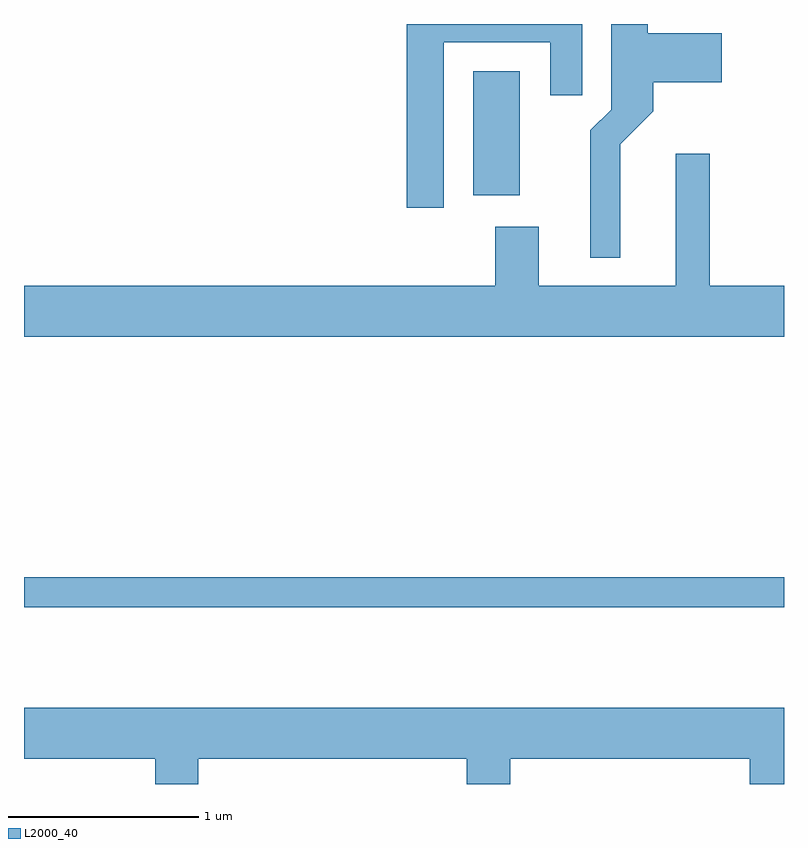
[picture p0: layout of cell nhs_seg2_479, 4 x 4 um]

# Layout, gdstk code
import gdstk
lib = gdstk.Library(unit=1e-6, precision=1e-09)
def R(c, l, rs):  # rectangles x0, y0, x1, y1
    for r in rs: c.add(gdstk.rectangle(r[:2], r[2:], *l))
def P(c, l, *ps):  # polygons
    for p in ps: c.add(gdstk.Polygon(p, *l))
L2000_40 = (2000, 40)

nhs_seg2_479 = lib.new_cell('nhs_seg2_479')
R(nhs_seg2_479, L2000_40, [(199.611,984.731,203.611,984.889), (201.976,986.901,202.219,987.554)])
P(nhs_seg2_479, L2000_40, [(202.749,987.169),(202.924,987.344),(202.924,987.496),(203.284,987.496),(203.284,987.754),(202.894,987.754),(202.894,987.802),(202.701,987.802),(202.701,987.352),(202.591,987.242),(202.591,986.573),(202.749,986.573)],
  [(201.819,987.706),(202.381,987.706),(202.381,987.428),(202.549,987.428),(202.549,987.802),(201.626,987.802),(201.626,986.836),(201.819,986.836)],
  [(203.611,986.424),(203.219,986.424),(203.219,987.119),(203.041,987.119),(203.041,986.424),(202.319,986.424),(202.319,986.734),(202.091,986.734),(202.091,986.424),(199.611,986.424),(199.611,986.156),(203.611,986.156)],
  [(200.529,983.936),(201.941,983.936),(201.941,983.802),(202.169,983.802),(202.169,983.936),(203.431,983.936),(203.431,983.802),(203.611,983.802),(203.611,984.204),(199.611,984.204),(199.611,983.936),(200.301,983.936),(200.301,983.802),(200.529,983.802)])

lib.write_gds('nhs_seg2_479.gds')
